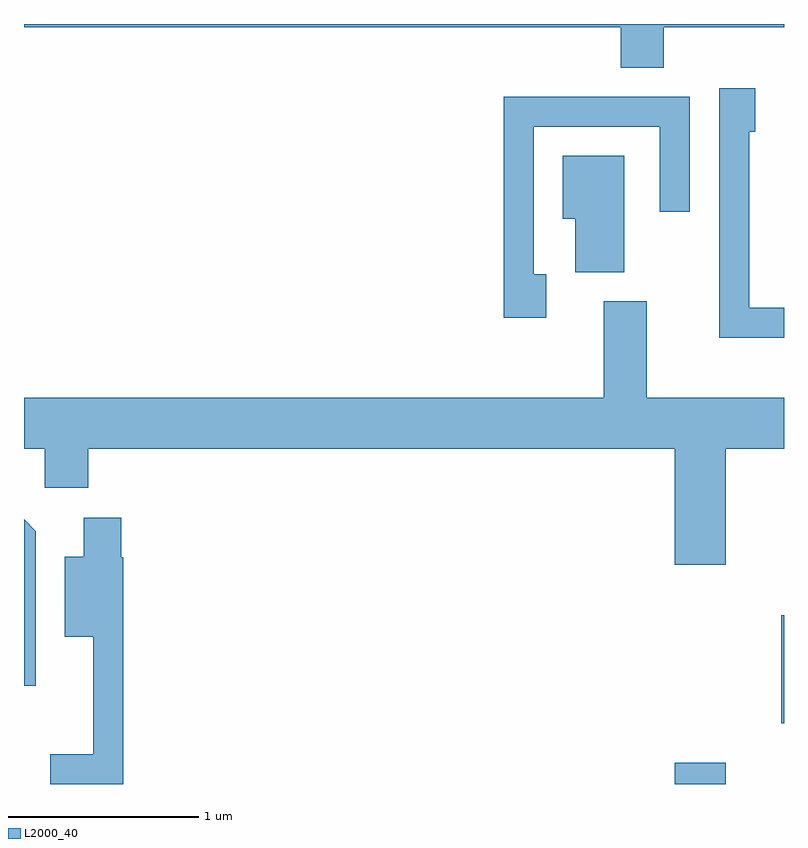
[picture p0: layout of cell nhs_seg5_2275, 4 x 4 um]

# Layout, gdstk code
import gdstk
lib = gdstk.Library(unit=1e-6, precision=1e-09)
def R(c, l, rs):  # rectangles x0, y0, x1, y1
    for r in rs: c.add(gdstk.rectangle(r[:2], r[2:], *l))
def P(c, l, *ps):  # polygons
    for p in ps: c.add(gdstk.Polygon(p, *l))
L2000_40 = (2000, 40)

nhs_seg5_2275 = lib.new_cell('nhs_seg5_2275')
R(nhs_seg5_2275, L2000_40, [(255.036,1526.072,255.304,1526.184), (255.596,1526.391,255.611,1526.959)])
P(nhs_seg5_2275, L2000_40, [(254.979,1530.056),(255.611,1530.056),(255.611,1530.072),(251.611,1530.072),(251.611,1530.056),(254.751,1530.056),(254.751,1529.841),(254.979,1529.841)],
  [(255.611,1528.579),(255.429,1528.579),(255.429,1529.506),(255.459,1529.506),(255.459,1529.734),(255.271,1529.734),(255.271,1528.421),(255.611,1528.421)],
  [(254.359,1528.754),(254.294,1528.754),(254.294,1529.531),(254.956,1529.531),(254.956,1529.083),(255.114,1529.083),(255.114,1529.689),(254.136,1529.689),(254.136,1528.526),(254.359,1528.526)],
  [(254.769,1529.379),(254.446,1529.379),(254.446,1529.046),(254.511,1529.046),(254.511,1528.766),(254.769,1528.766)],
  [(255.304,1527.836),(255.611,1527.836),(255.611,1528.104),(254.889,1528.104),(254.889,1528.614),(254.661,1528.614),(254.661,1528.104),(251.611,1528.104),(251.611,1527.836),(251.721,1527.836),(251.721,1527.631),(251.949,1527.631),(251.949,1527.836),(255.036,1527.836),(255.036,1527.226),(255.304,1527.226)],
  [(252.134,1527.265),(252.124,1527.265),(252.124,1527.474),(251.926,1527.474),(251.926,1527.269),(251.826,1527.269),(251.826,1526.846),(251.976,1526.846),(251.976,1526.229),(251.748,1526.229),(251.748,1526.072),(252.134,1526.072)],
  [(251.674,1527.402),(251.611,1527.465),(251.611,1526.588),(251.674,1526.588)])

lib.write_gds('nhs_seg5_2275.gds')
